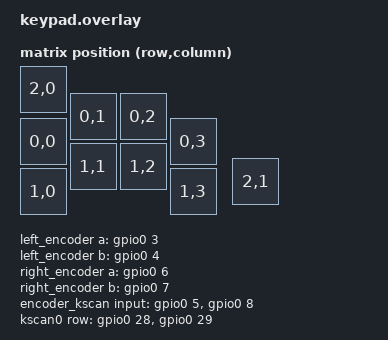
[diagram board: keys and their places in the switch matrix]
#include <physical_layouts.dtsi>
#include <dt-bindings/zmk/matrix_transform.h>

/ {
    chosen {
        zmk,kscan = &composite_kscan;
        zmk,physical-layout = &default_layout;
    };

    left_encoder: left_encoder {
        compatible = "alps,ec11";
        a-gpios = <&gpio0 3 (GPIO_ACTIVE_HIGH | GPIO_PULL_UP)>;
        b-gpios = <&gpio0 4 (GPIO_ACTIVE_HIGH | GPIO_PULL_UP)>;
        steps = <80>;
        status = "okay";
    };

    right_encoder: right_encoder {
        compatible = "alps,ec11";
        a-gpios = <&gpio0 6 (GPIO_ACTIVE_HIGH | GPIO_PULL_UP)>;
        b-gpios = <&gpio0 7 (GPIO_ACTIVE_HIGH | GPIO_PULL_UP)>;
        steps = <80>;
        status = "okay";
    };

    sensors: sensors {
        compatible = "zmk,keymap-sensors";
        sensors = <&left_encoder &right_encoder>;
        triggers-per-rotation = <20>;
    };

    encoder_kscan: encoder_kscan {
        compatible = "zmk,kscan-gpio-direct";
        input-gpios = <&gpio0 5 (GPIO_ACTIVE_LOW | GPIO_PULL_UP)>,
                      <&gpio0 8 (GPIO_ACTIVE_LOW | GPIO_PULL_UP)>;
    };

    composite_kscan: composite_kscan {
        compatible = "zmk,kscan-composite";
        rows = <3>;
        columns = <4>;

        matrix {
            kscan = <&kscan0>;
        };

        encoder_switches {
            kscan = <&encoder_kscan>;
            row-offset = <2>;
        };
    };

    kscan0: kscan {
        compatible = "zmk,kscan-gpio-matrix";
        diode-direction = "col2row";

        row-gpios = <&gpio0 28 (GPIO_ACTIVE_HIGH | GPIO_PULL_DOWN)>,
                    <&gpio0 29 (GPIO_ACTIVE_HIGH | GPIO_PULL_DOWN)>;

        col-gpios = <&gpio0 14 GPIO_ACTIVE_HIGH>,
                    <&gpio0 15 GPIO_ACTIVE_HIGH>,
                    <&gpio0 26 GPIO_ACTIVE_HIGH>,
                    <&gpio0 27 GPIO_ACTIVE_HIGH>;
    };

    default_transform: keymap_transform_0 {
        compatible = "zmk,matrix-transform";
        columns = <4>;
        rows = <3>;
        map = <
            RC(0,0) RC(0,1) RC(0,2) RC(0,3)
            RC(1,0) RC(1,1) RC(1,2) RC(1,3)
            RC(2,0) RC(2,1)
        >;
    };

    default_layout: default_layout {
        compatible = "zmk,physical-layout";
        display-name = "Keypad";
        transform = <&default_transform>;
        kscan = <&composite_kscan>;

        keys  //                     w   h    x    y   rot  rx   ry
            // Row 0
            = <&key_physical_attrs 100 100    0  105    0    0    0>
            , <&key_physical_attrs 100 100  100   55    0    0    0>
            , <&key_physical_attrs 100 100  200   55    0    0    0>
            , <&key_physical_attrs 100 100  300  105    0    0    0>
            // Row 1
            , <&key_physical_attrs 100 100    0  205    0    0    0>
            , <&key_physical_attrs 100 100  100  155    0    0    0>
            , <&key_physical_attrs 100 100  200  155    0    0    0>
            , <&key_physical_attrs 100 100  300  205    0    0    0>
            // encoder push buttons
            , <&key_physical_attrs 100 100    0    0    0    0    0>
            , <&key_physical_attrs 100 100  425  185    0    0    0>
            ;
    };
};
